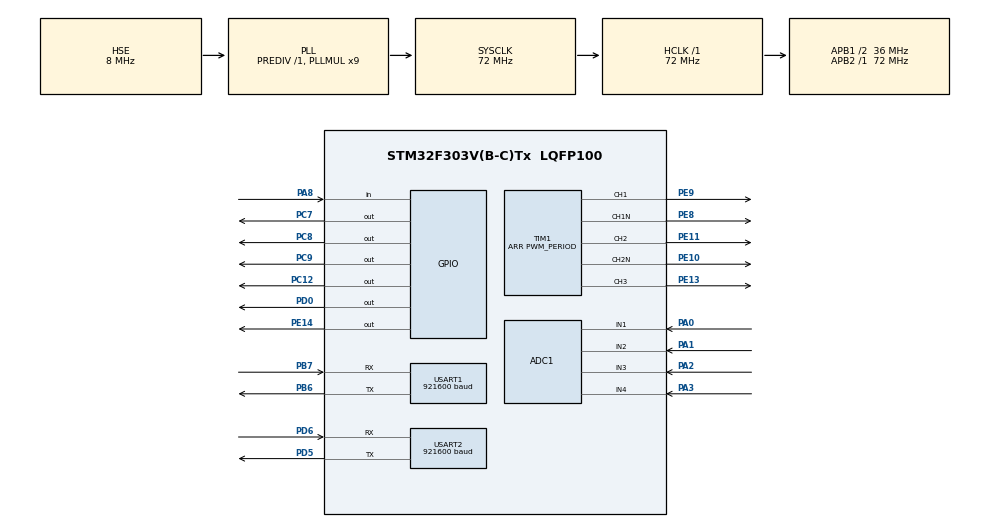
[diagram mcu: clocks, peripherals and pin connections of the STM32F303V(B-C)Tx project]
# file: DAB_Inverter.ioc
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ADC1.Channel-0\#ChannelRegularConversion=ADC_CHANNEL_1
ADC1.Channel-3\#ChannelRegularConversion=ADC_CHANNEL_3
ADC1.Channel-4\#ChannelRegularConversion=ADC_CHANNEL_4
ADC1.ContinuousConvMode=ENABLE
ADC1.DMAContinuousRequests=ENABLE
ADC1.NbrOfConversion=3
ADC1.NbrOfConversionFlag=1
ADC1.Offset-0\#ChannelRegularConversion=0
ADC1.Offset-3\#ChannelRegularConversion=0
ADC1.Offset-4\#ChannelRegularConversion=0
ADC1.OffsetNumber-0\#ChannelRegularConversion=ADC_OFFSET_NONE
ADC1.OffsetNumber-3\#ChannelRegularConversion=ADC_OFFSET_NONE
ADC1.OffsetNumber-4\#ChannelRegularConversion=ADC_OFFSET_NONE
ADC1.Rank-0\#ChannelRegularConversion=1
ADC1.Rank-3\#ChannelRegularConversion=2
ADC1.Rank-4\#ChannelRegularConversion=3
ADC1.SamplingTime-0\#ChannelRegularConversion=ADC_SAMPLETIME_181CYCLES_5
ADC1.SamplingTime-3\#ChannelRegularConversion=ADC_SAMPLETIME_181CYCLES_5
ADC1.SamplingTime-4\#ChannelRegularConversion=ADC_SAMPLETIME_181CYCLES_5
ADC1.SingleDiff-0\#ChannelRegularConversion=ADC_DIFFERENTIAL_ENDED
ADC1.master=1
Dma.ADC1.1.Direction=DMA_PERIPH_TO_MEMORY
Dma.ADC1.1.Instance=DMA1_Channel1
Dma.ADC1.1.MemDataAlignment=DMA_MDATAALIGN_HALFWORD
Dma.ADC1.1.MemInc=DMA_MINC_ENABLE
Dma.ADC1.1.Mode=DMA_CIRCULAR
Dma.ADC1.1.PeriphDataAlignment=DMA_PDATAALIGN_HALFWORD
Dma.ADC1.1.PeriphInc=DMA_PINC_DISABLE
Dma.ADC1.1.Priority=DMA_PRIORITY_HIGH
Dma.Request0=USART2_TX
Dma.Request1=ADC1
Dma.Request2=USART1_RX
Dma.USART1_RX.2.Direction=DMA_PERIPH_TO_MEMORY
Dma.USART1_RX.2.Instance=DMA1_Channel5
Dma.USART1_RX.2.MemDataAlignment=DMA_MDATAALIGN_BYTE
Dma.USART1_RX.2.MemInc=DMA_MINC_ENABLE
Dma.USART1_RX.2.Mode=DMA_CIRCULAR
Dma.USART1_RX.2.PeriphDataAlignment=DMA_PDATAALIGN_BYTE
Dma.USART1_RX.2.PeriphInc=DMA_PINC_DISABLE
Dma.USART1_RX.2.Priority=DMA_PRIORITY_LOW
Dma.USART2_TX.0.Direction=DMA_MEMORY_TO_PERIPH
Dma.USART2_TX.0.Instance=DMA1_Channel7
Dma.USART2_TX.0.MemDataAlignment=DMA_MDATAALIGN_BYTE
Dma.USART2_TX.0.MemInc=DMA_MINC_ENABLE
Dma.USART2_TX.0.Mode=DMA_NORMAL
Dma.USART2_TX.0.PeriphDataAlignment=DMA_PDATAALIGN_BYTE
Dma.USART2_TX.0.PeriphInc=DMA_PINC_DISABLE
Dma.USART2_TX.0.Priority=DMA_PRIORITY_LOW
Mcu.Family=STM32F3
Mcu.Name=STM32F303V(B-C)Tx
Mcu.Package=LQFP100
Mcu.UserConstants=PWM_PERIOD,600
NVIC.ADC1_2_IRQn=true\:1\:0\:true\:false\:true\:true\:true
NVIC.DMA1_Channel1_IRQn=true\:1\:0\:true\:false\:true\:false\:true
NVIC.DMA1_Channel5_IRQn=true\:0\:0\:false\:false\:true\:false\:true
NVIC.DMA1_Channel7_IRQn=true\:0\:0\:true\:false\:true\:false\:true
NVIC.PriorityGroup=NVIC_PRIORITYGROUP_4
NVIC.TIM3_IRQn=true\:0\:0\:false\:false\:true\:true\:true
NVIC.USART1_IRQn=true\:0\:0\:false\:false\:true\:true\:true
NVIC.USART2_IRQn=true\:0\:0\:true\:false\:true\:true\:true
PA0.Mode=IN1-Differential
PA0.Signal=ADC1_IN1
PA1.Mode=IN1-Differential
PA1.Signal=ADC1_IN2
PA13.Mode=Serial_Wire
PA13.Signal=SYS_JTMS-SWDIO
PA14.Mode=Serial_Wire
PA14.Signal=SYS_JTCK-SWCLK
PA2.Mode=IN3-Single-Ended
PA2.Signal=ADC1_IN3
PA3.Mode=IN4-Single-Ended
PA3.Signal=ADC1_IN4
PA8.Signal=GPIO_Input
PB6.Mode=Asynchronous
PB6.Signal=USART1_TX
PB7.Mode=Asynchronous
PB7.Signal=USART1_RX
PC12.Signal=GPIO_Output
PC7.Signal=GPIO_Output
PC8.Signal=GPIO_Output
PC9.Signal=GPIO_Output
PD0.Signal=GPIO_Output
PD5.Mode=Asynchronous
PD5.Signal=USART2_TX
PD6.Mode=Asynchronous
PD6.Signal=USART2_RX
PE10.Mode=PWM Generation2 CH2 CH2N
PE10.Signal=TIM1_CH2N
PE11.Signal=S_TIM1_CH2
PE13.Signal=S_TIM1_CH3
PE14.Signal=GPIO_Output
PE8.Mode=PWM Generation1 CH1 CH1N
PE8.Signal=TIM1_CH1N
PE9.Signal=S_TIM1_CH1
PF0-OSC_IN.Mode=HSE-External-Oscillator
PF0-OSC_IN.Signal=RCC_OSC_IN
PF1-OSC_OUT.Mode=HSE-External-Oscillator
PF1-OSC_OUT.Signal=RCC_OSC_OUT
ProjectManager.HeapSize=0x200
ProjectManager.StackSize=0x400
ProjectManager.TargetToolchain=EWARM V8.32
RCC.AHBFreq_Value=72000000
RCC.APB1CLKDivider=RCC_HCLK_DIV2
RCC.APB1Freq_Value=36000000
RCC.APB1TimFreq_Value=72000000
RCC.APB2Freq_Value=72000000
RCC.APB2TimFreq_Value=72000000
RCC.CortexFreq_Value=72000000
RCC.HCLKFreq_Value=72000000
RCC.HSE_VALUE=8000000
RCC.HSI_VALUE=8000000
RCC.LSE_VALUE=32768
RCC.PLLMUL=RCC_PLL_MUL9
RCC.PLLSourceVirtual=RCC_PLLSOURCE_HSE
RCC.SYSCLKFreq_VALUE=72000000
RCC.SYSCLKSourceVirtual=RCC_SYSCLKSOURCE_PLLCLK
RCC.TIM1Selection=RCC_TIM1CLK_PLLCLK
RCC.USBFreq_Value=72000000
SH.S_TIM1_CH1.0=TIM1_CH1,PWM Generation1 CH1 CH1N
SH.S_TIM1_CH2.0=TIM1_CH2,PWM Generation2 CH2 CH2N
SH.S_TIM1_CH3.0=TIM1_CH3,PWM Generation3 CH3
TIM1.AutoReloadPreload=TIM_AUTORELOAD_PRELOAD_ENABLE
TIM1.Channel-PWM\ Generation1\ CH1\ CH1N=TIM_CHANNEL_1
TIM1.Channel-PWM\ Generation2\ CH2\ CH2N=TIM_CHANNEL_2
TIM1.Channel-PWM\ Generation3\ CH3=TIM_CHANNEL_3
TIM1.CounterMode=TIM_COUNTERMODE_CENTERALIGNED1
TIM1.OCMode_PWM-PWM\ Generation1\ CH1\ CH1N=TIM_OCMODE_ASSYMETRIC_PWM1
TIM1.OCMode_PWM-PWM\ Generation2\ CH2\ CH2N=TIM_OCMODE_ASSYMETRIC_PWM1
TIM1.Period=PWM_PERIOD
TIM1.Pulse-PWM\ Generation1\ CH1\ CH1N=PWM_PERIOD/2
TIM1.Pulse-PWM\ Generation2\ CH2\ CH2N=PWM_PERIOD/2
TIM1.Pulse-PWM\ Generation3\ CH3=PWM_PERIOD
TIM3.Period=19
TIM3.Prescaler=599
USART1.BaudRate=921600
USART1.VirtualMode-Asynchronous=VM_ASYNC
USART2.BaudRate=921600
USART2.VirtualMode-Asynchronous=VM_ASYNC
VP_TIM1_VS_ClockSourceINT.Mode=Internal
VP_TIM3_VS_ClockSourceINT.Mode=Internal
board=custom

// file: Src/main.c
/* USER CODE BEGIN Header */
/**
  ******************************************************************************
  * @file           : main.c
  * @brief          : Main program body
  ******************************************************************************
  * @attention
  *
  * <h2><center>&copy; Copyright (c) 2020 STMicroelectronics.
  * All rights reserved.</center></h2>
  *
  * This software component is licensed by ST under BSD 3-Clause license,
  * the "License"; You may not use this file except in compliance with the
  * License. You may obtain a copy of the License at:
  *                        opensource.org/licenses/BSD-3-Clause
  *
  ******************************************************************************
  */
/* USER CODE END Header */

#include "main.h"
#include "adc.h"
#include "dma.h"
#include "tim.h"
#include "usart.h"
#include "gpio.h"

/* USER CODE BEGIN Includes */
#include "stm32f3xx_it.h"
#include "stm32f3xx_hal_rcc.h"
#include "printf.h"
/* USER CODE END Includes */

/* USER CODE BEGIN PV */
typedef enum reset_cause_e
{
    RESET_CAUSE_UNKNOWN = 0,
    RESET_CAUSE_LOW_POWER_RESET,
    RESET_CAUSE_WINDOW_WATCHDOG_RESET,
    RESET_CAUSE_INDEPENDENT_WATCHDOG_RESET,
    RESET_CAUSE_SOFTWARE_RESET,
    RESET_CAUSE_POWER_ON_POWER_DOWN_RESET,
    RESET_CAUSE_EXTERNAL_RESET_PIN_RESET,
    RESET_CAUSE_BROWNOUT_RESET,
} reset_cause_t;
/* USER CODE END PV */

void SystemClock_Config(void);
/* USER CODE BEGIN PFP */

uint32_t DWT_Init(void)
{
    /* Disable TRC */
    CoreDebug->DEMCR &= ~CoreDebug_DEMCR_TRCENA_Msk; // ~0x01000000;
    /* Enable TRC */
    CoreDebug->DEMCR |=  CoreDebug_DEMCR_TRCENA_Msk; // 0x01000000;
    /* Disable clock cycle counter */
    DWT->CTRL &= ~DWT_CTRL_CYCCNTENA_Msk; //~0x00000001;
    /* Enable  clock cycle counter */
    DWT->CTRL |=  DWT_CTRL_CYCCNTENA_Msk; //0x00000001;
    /* Reset the clock cycle counter value */
    DWT->CYCCNT = 0;
    /* 3 NO OPERATION instructions */
    __ASM volatile ("NOP");
    __ASM volatile ("NOP");
    __ASM volatile ("NOP");
    /* Check if clock cycle counter has started */
    if(DWT->CYCCNT)
    {
       return 0; /*clock cycle counter started*/
    }
    else
    {
      return 1; /*clock cycle counter not started*/
    }
}

reset_cause_t reset_cause_get(void)
{
    reset_cause_t reset_cause;

    if (__HAL_RCC_GET_FLAG(RCC_FLAG_LPWRRST))
    {
        reset_cause = RESET_CAUSE_LOW_POWER_RESET;
    }
    else if (__HAL_RCC_GET_FLAG(RCC_FLAG_WWDGRST))
    {
        reset_cause = RESET_CAUSE_WINDOW_WATCHDOG_RESET;
    }
    else if (__HAL_RCC_GET_FLAG(RCC_FLAG_IWDGRST))
    {
        reset_cause = RESET_CAUSE_INDEPENDENT_WATCHDOG_RESET;
    }
    else if (__HAL_RCC_GET_FLAG(RCC_FLAG_SFTRST))
    {
        reset_cause = RESET_CAUSE_SOFTWARE_RESET; // This reset is induced by calling the ARM CMSIS `NVIC_SystemReset()` function!
    }
    else if (__HAL_RCC_GET_FLAG(RCC_FLAG_PORRST))
    {
        reset_cause = RESET_CAUSE_POWER_ON_POWER_DOWN_RESET;
    }
    else if (__HAL_RCC_GET_FLAG(RCC_FLAG_PINRST))
    {
        reset_cause = RESET_CAUSE_EXTERNAL_RESET_PIN_RESET;
    }
    // Needs to come *after* checking the `RCC_FLAG_PORRST` flag in order to ensure first that the reset cause is
    // NOT a POR/PDR reset. See note below.
    else
    {
        reset_cause = RESET_CAUSE_UNKNOWN;
    }

    // Clear all the reset flags or else they will remain set during future resets until system power is fully removed.
    __HAL_RCC_CLEAR_RESET_FLAGS();

    return reset_cause;
}
/* USER CODE END PFP */

int main(void)
{

  /* MCU Configuration--------------------------------------------------------*/

  /* Reset of all peripherals, Initializes the Flash interface and the Systick. */
  HAL_Init();

  /* USER CODE BEGIN Init */
  short resetFlag = reset_cause_get();
  /* USER CODE END Init */

  /* Configure the system clock */
  SystemClock_Config();

  /* Initialize all configured peripherals */
  MX_GPIO_Init();
  MX_DMA_Init();
  MX_ADC1_Init();
  MX_TIM1_Init();
  MX_USART1_UART_Init();
  MX_USART2_UART_Init();
  MX_TIM3_Init();
  /* USER CODE BEGIN 2 */

  char monitor_buf[55];
  snprintf(monitor_buf,55,"System Start up! Last Reset Flag is %d, DWT Status %d\r\n\n",resetFlag,DWT_Init());
  print_debug(monitor_buf);
  start_pwm();
  change_phase_shift(140);
  change_duty_cycle(400);
  // turn on unfolding bridge
  //HAL_GPIO_WritePin(GPIOE, GPIO_PIN_13, GPIO_PIN_RESET);
  //HAL_GPIO_WritePin(GPIOE, GPIO_PIN_14, GPIO_PIN_RESET);
  HAL_GPIO_WritePin(GPIOE, GPIO_PIN_8, GPIO_PIN_RESET);
  HAL_GPIO_WritePin(GPIOE, GPIO_PIN_9, GPIO_PIN_RESET);
  HAL_GPIO_WritePin(GPIOE, GPIO_PIN_10, GPIO_PIN_RESET);
  HAL_GPIO_WritePin(GPIOE, GPIO_PIN_11, GPIO_PIN_RESET);
  // HAL_GPIO_WritePin(GPIOB, GPIO_PIN_1, GPIO_PIN_RESET);

  // auto calibrating ADC
  HAL_ADCEx_Calibration_Start(&hadc1,ADC_SINGLE_ENDED);
  HAL_ADCEx_Calibration_Start(&hadc1,ADC_DIFFERENTIAL_ENDED);

  // Setup UART receiver DMA
  //HAL_UART_Receive_DMA(&huart1, &sineTableCnt, 1);
  //HAL_UART_Receive_IT(&huart2, &sineTableCnt,1);

  /* USER CODE END 2 */

  /* Infinite loop */
  /* USER CODE BEGIN WHILE */
  // start the ADC
  int status = HAL_ADC_Start_DMA(&hadc1, (uint32_t*)adc1_buffer, 3);
  if (status != HAL_OK)
      print_debug("Failed to Initialize ADC\r\n");

  // Control Gain
  K11 = 0;
  short K12 = 8000;
  short K13 = 0;
  short K14 = 2;

  K22 = 0;
  short K21 = 3000;
  short K23 = 2;
  short K24 = 0;

  // Current Control Variables
  short currOutput = 0;
  short currFiltered = 0;
  //short currCmd  = 100;
  short currError = 0;

  float currSI = 0.0;
  float currSiFiltered = 0.0;
  float currErrorInt = 0.0f;
  float currErrorIntSat = 0.1f;
  short Dcmd = 0;
  short DcmdNew = Dcmd;

  // Voltage Control Variables
  float voltErrorInt = 0.0f;
  float voltErrorIntSat = 0.1f;
  short phiCmdTick = 0;
  //short phiNom = 150;
  short voltOutput = 0;
  short voltInput  = 0;
  short voltError = 0;
  short phiCmd = 0;

  // short maxDphi = 10;
  // int saturateCnt = 0;
  int tick = 0;
  long int  monitorCnt = 0;

  char monitorBuf[100];
  // start the timer
  HAL_TIM_Base_Start_IT(&htim3); // enable timer 3 interrupt

  while (1)
  {

    if (voltUpdate == 0) // wait for new ADC value to come in
        continue;

    tick = DWT->CYCCNT; // Check Timelapse
    DWT->CYCCNT = 0;
    voltUpdate  = 0; // clear update flag

    voltInput    = 0.9f*voltInput+0.1f*(*adc_val3);
    voltCmd      = voltInput/2.5f;// 200; // Fixed Voltage Tracking
    voltOutput   = 0.9f*voltOutput+0.1f*(*adc_val1 - 2048);
    voltError    = voltCmd - voltOutput;
    voltErrorInt = voltErrorInt + voltError*tick/(72000000.0f);

//    if (voltOutput>1000)
//    {
//      snprintf(monitorBuf,50,"HV at Cout!\r\n");
//      print_debug(monitorBuf);
//      change_phase_shift(0);
//      change_duty_cycle(0);
//      continue;
//    }

    // current
    // currCmd = 100;
    currOutput = *adc_val2 - 2048;
    currFiltered = 0.9f*currFiltered + 0.1f*currOutput;
    currError = currCmd - currFiltered;
    currErrorInt = currErrorInt + currError*tick/(72000000.0f);

    // Anti-windup for current
    if (currErrorInt>currErrorIntSat)
    {
      currErrorInt = currErrorIntSat;
    }
    else if (currErrorInt<-currErrorIntSat)
    {
      currErrorInt = -currErrorIntSat;
    }

    // clamp integral error (anti windup)
    if (voltErrorInt>voltErrorIntSat)
    {
      voltErrorInt = voltErrorIntSat;
    }
    else if (voltErrorInt<-voltErrorIntSat)
    {
      voltErrorInt = -voltErrorIntSat;
    }

    //dphiCmdTick = (Kp*voltError + Ki*voltErrorInt) -  phiCmdTick ;

    //phiCmdTick = 0.9f*phiCmdTick + 0.1f*(Kp*voltError + Ki*voltErrorInt);

    // DcmdNew = (KpCurrent*currError + KiCurrent*currErrorInt)+Kpv*voltError;
    DcmdNew = K11*voltErrorInt +K12*currErrorInt +K13*voltError+K14*currError;
    if (DcmdNew>590)
    {
      DcmdNew = 590;
    }
    else if (DcmdNew<-590)
    {
      DcmdNew = -590;
    }

//    if (((DcmdNew>0)&&(currCmd<0))||((DcmdNew<0)&&(currCmd>0)))
//    {
//        DcmdNew = 0;
//    }
//

    change_duty_cycle(DcmdNew);

    phiCmd = K21*voltErrorInt + K22*currErrorInt + K23*voltError + K24*currError;

    if (phiCmd>150)
    {
      phiCmd=150;
    }
    else if (phiCmd<1)
    {
      phiCmd = 1;
    }
    // phiCmdTick = 0.2f*phiCmdTick + 0.8f*phiCmd;
    change_phase_shift(phiCmd);

//     if (abs(Dcmd-phiCmd)> 20)
//     {
         // HAL_GPIO_TogglePin(GPIOD,GPIO_PIN_0);
//     }

    Dcmd = phiCmd;

     if ((monitorCnt%300000)==0)
     {
        // Vin  to  ADC: 19.7  <-> 620
        // Vout to  ADC: 11.27 <-> 170
        // Iout to  ADC: 1.12 <-> 83
       snprintf(monitorBuf,60,"Id: %d,D: %d, phi: %d, I: %d, V: %d\r\n",sineTableCnt,DcmdNew,phiCmd,currCmd,*adc_val3);
       print_debug(monitorBuf);
       monitorCnt = 1;
     }
      monitorCnt++;

    /* USER CODE END WHILE */

  }
}

void SystemClock_Config(void)
{
  RCC_OscInitTypeDef RCC_OscInitStruct = {0};
  RCC_ClkInitTypeDef RCC_ClkInitStruct = {0};
  RCC_PeriphCLKInitTypeDef PeriphClkInit = {0};

  /** Initializes the CPU, AHB and APB busses clocks
  */
  RCC_OscInitStruct.OscillatorType = RCC_OSCILLATORTYPE_HSE;
  RCC_OscInitStruct.HSEState = RCC_HSE_ON;
  RCC_OscInitStruct.HSEPredivValue = RCC_HSE_PREDIV_DIV1;
  RCC_OscInitStruct.HSIState = RCC_HSI_ON;
  RCC_OscInitStruct.PLL.PLLState = RCC_PLL_ON;
  RCC_OscInitStruct.PLL.PLLSource = RCC_PLLSOURCE_HSE;
  RCC_OscInitStruct.PLL.PLLMUL = RCC_PLL_MUL9;
  if (HAL_RCC_OscConfig(&RCC_OscInitStruct) != HAL_OK)
  {
    Error_Handler();
  }
  /** Initializes the CPU, AHB and APB busses clocks
  */
  RCC_ClkInitStruct.ClockType = RCC_CLOCKTYPE_HCLK|RCC_CLOCKTYPE_SYSCLK
                              |RCC_CLOCKTYPE_PCLK1|RCC_CLOCKTYPE_PCLK2;
  RCC_ClkInitStruct.SYSCLKSource = RCC_SYSCLKSOURCE_PLLCLK;
  RCC_ClkInitStruct.AHBCLKDivider = RCC_SYSCLK_DIV1;
  RCC_ClkInitStruct.APB1CLKDivider = RCC_HCLK_DIV2;
  RCC_ClkInitStruct.APB2CLKDivider = RCC_HCLK_DIV1;

  if (HAL_RCC_ClockConfig(&RCC_ClkInitStruct, FLASH_LATENCY_2) != HAL_OK)
  {
    Error_Handler();
  }
  PeriphClkInit.PeriphClockSelection = RCC_PERIPHCLK_USART1|RCC_PERIPHCLK_USART2
                              |RCC_PERIPHCLK_TIM1|RCC_PERIPHCLK_ADC12;
  PeriphClkInit.Usart1ClockSelection = RCC_USART1CLKSOURCE_PCLK2;
  PeriphClkInit.Usart2ClockSelection = RCC_USART2CLKSOURCE_PCLK1;
  PeriphClkInit.Adc12ClockSelection = RCC_ADC12PLLCLK_DIV1;
  PeriphClkInit.Tim1ClockSelection = RCC_TIM1CLK_PLLCLK;
  if (HAL_RCCEx_PeriphCLKConfig(&PeriphClkInit) != HAL_OK)
  {
    Error_Handler();
  }
}

void Error_Handler(void)
{
}

/************************ (C) COPYRIGHT STMicroelectronics *****END OF FILE****/
